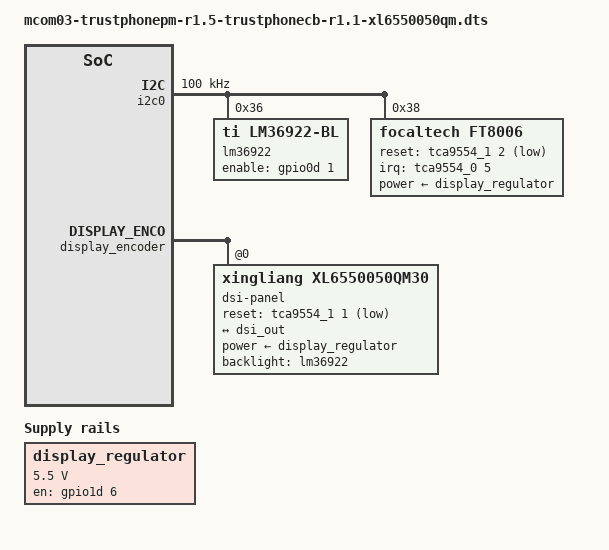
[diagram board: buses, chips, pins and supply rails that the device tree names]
// SPDX-License-Identifier: GPL-2.0+
/*
 * Copyright 2022 RnD Center "ELVEES", JSC
 */

/dts-v1/;

#include "mcom03-trustphonepm-r1.5-trustphonecb-r1.1.dts"

/ {
	display_regulator: fixed-regulator {
		compatible = "regulator-fixed";
		regulator-name = "display-supply";
		regulator-min-microvolt = <5500000>;
		regulator-max-microvolt = <5500000>;
		gpio = <&gpio1d 6 GPIO_ACTIVE_HIGH>;
		startup-delay-us = <1000>;
		enable-active-high;
	};
};

&i2c0 {
	clock-frequency = <100000>;
	status = "okay";

	lm36922: backlight@36 {
		compatible = "ti,lm36922-bl";
		reg = <0x36>;
		#address-cells = <1>;
		#size-cells = <0>;
		enable-gpios = <&gpio0d 1 GPIO_ACTIVE_HIGH>;
		ti,ovp-microvolt = <25000000>;

		led@1 {
			reg = <1>;
			led-max-microamp = <20000>;
			default-brightness-level = <255>;
		};
	};

	ft8006: touchscreen@38 {
		compatible = "focaltech,ft8006";
		reg = <0x38>;
		interrupt-parent = <&tca9554_0>;
		interrupts = <5 IRQ_TYPE_EDGE_BOTH>;
		reset-gpios = <&tca9554_1 2 GPIO_ACTIVE_LOW>;
		touchscreen-size-x = <720>;
		touchscreen-size-y = <1600>;
		touchscreen-x-mm = <70>;
		touchscreen-y-mm = <157>;
		power-supply = <&display_regulator>;
	};
};

&i2c4 {
	/delete-node/ hdmi@39;
};

&display_encoder {
	video-output = "dsi";
	dsi-clock-frequency = <400000000>;

	dsi-panel@0 {
		#address-cells = <1>;
		#size-cells = <0>;
		compatible = "xingliang,xl6550050qm30";
		reg = <0>;
		backlight = <&lm36922>;
		reset-gpios = <&tca9554_1 1 GPIO_ACTIVE_LOW>;
		power-supply = <&display_regulator>;

		ports {
			port {
				panel_in: endpoint {
					remote-endpoint = <&dsi_out>;
				};
			};
		};
	};

	ports {
		/delete-node/ port@2;

		port@1 {
			reg = <1>;

			dsi_out: endpoint {
				remote-endpoint = <&panel_in>;
			};
		};
	};
};
